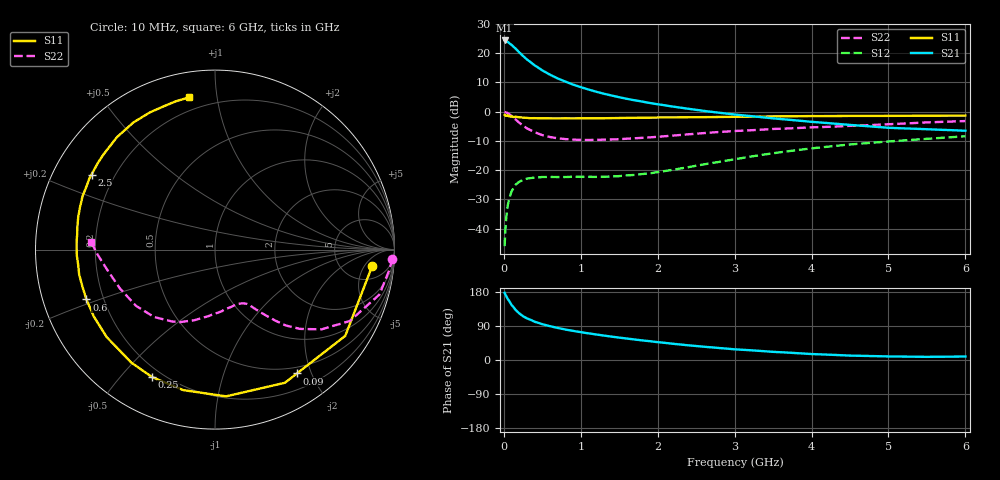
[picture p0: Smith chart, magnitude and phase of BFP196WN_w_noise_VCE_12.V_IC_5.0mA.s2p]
! Infineon Technologies  Discrete & RF Semiconductors
! BFP196WN
! VCE =  12. V,  IC =  5.0 mA
! Common Emitter S-Parameters:  Jan 2017
# GHz  S  MA  R  50
!  f  S11  S21  S12  S22
! GHz  MAG  ANG  MAG  ANG  MAG  ANG  MAG  ANG
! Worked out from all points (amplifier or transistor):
!   77 points, 10 MHz to 6 GHz, reference 50 ohm
!   highest |S21| = 24.4 dB at 10 MHz (marker M1)
!   |S21| within 3 dB of that: start of sweep to 160.6 MHz
!   unconditionally stable (mu >= 1): 1.383 GHz to 2.59 GHz
!   at 130 MHz: K = 0.12, MSG = 24.0 dB, |S12| = -25.9 dB
!   at 2.2 GHz: K = 1.09, MAG = 9.0 dB, |S12| = -19.9 dB
!   at 6 GHz: K = 0.88, MSG = 0.9 dB, |S12| = -8.4 dB
!   lowest NFmin = 1.08 dB at 450 MHz
!   S11 on the Smith chart (normalised r, x): 10 MHz: 9, -8; 90 MHz: 0.41, -1.79; 250 MHz: 0.16, -0.61; 600 MHz: 0.14, -0.18; 2.5 GHz: 0.12, +0.28; 6 GHz: 0.13, +0.83
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0.01  0.8799 -6.1  16.55 177.2  0.005 80.2  0.9895 -2.9
0.02  0.8551 -14.9  16.11 172.5  0.0096 85.5  0.9795 -6.3
0.05  0.8704 -33.5  15.75 161.5  0.0247 71.5  0.9497 -15.3
0.09  0.8273 -56.5  14.2 148.9  0.0394 60.4  0.8663 -25.2
0.1  0.8381 -62.3  13.93 145.4  0.0432 58.8  0.8499 -27.9
0.15  0.8199 -85.7  12.11 132.8  0.0559 47.8  0.7418 -36.8
0.2  0.8026 -102.8  10.37 123.1  0.0631 40.5  0.6479 -43.0
0.25  0.792 -116.3  8.97 115.6  0.0685 35.5  0.578 -47.0
0.3  0.7834 -126.5  7.844 109.8  0.0715 31.3  0.5183 -49.7
0.4  0.7757 -141.1  6.207 100.9  0.0747 27.1  0.4444 -53.3
0.5  0.7713 -151.2  5.088 94.5  0.0762 24.6  0.3976 -56.0
0.6  0.7683 -158.8  4.298 89.2  0.0766 23.7  0.3682 -57.9
0.7  0.767 -164.6  3.706 84.6  0.0761 23.6  0.3505 -59.6
0.8  0.7694 -169.7  3.268 80.4  0.0762 24.6  0.3397 -61.9
1.1  0.7714 179.3  2.396 70.4  0.0768 28.4  0.328 -69.4
1.5  0.7795 168.8  1.767 59.1  0.079 38.3  0.3378 -81.0
2.1  0.796 156.2  1.28 45.1  0.0969 53.7  0.3809 -98.6
2.5  0.8051 148.7  1.076 36.9  0.1189 60.4  0.4198 -109.2
3.1  0.818 138.0  0.868 27.0  0.1614 63.5  0.4732 -123.4
4.1  0.8416 121.1  0.655 15.0  0.2433 58.6  0.5445 -147.4
5.1  0.8488 108.7  0.524 9.2  0.3159 49.4  0.6182 -171.0
6  0.8603 99.8  0.472 9.2  0.3796 41.2  0.692 176.3
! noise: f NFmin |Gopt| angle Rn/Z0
0.45  1.08  0.44  121  0.07
0.9  1.21  0.58  158  0.06
1.9  2.72  0.75  203  0.15
2.4  3.62  0.76  211  0.29
